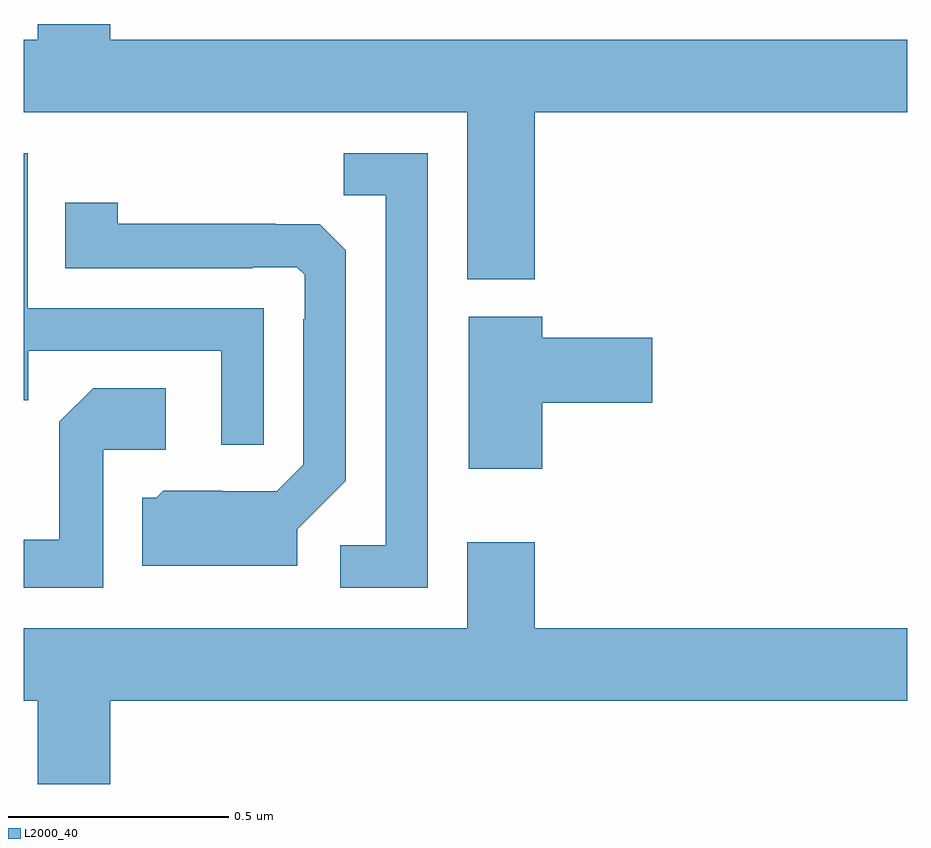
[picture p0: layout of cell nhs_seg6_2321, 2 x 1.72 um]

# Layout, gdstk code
import gdstk
lib = gdstk.Library(unit=1e-6, precision=1e-09)
def P(c, l, *ps):  # polygons
    for p in ps: c.add(gdstk.Polygon(p, *l))
L2000_40 = (2000, 40)

nhs_seg6_2321 = lib.new_cell('nhs_seg6_2321')
P(nhs_seg6_2321, L2000_40, [(142.157,983.3),(143,983.3),(143,983.464),(141.196,983.464),(141.196,983.5),(141.032,983.5),(141.032,983.464),(141,983.464),(141,983.3),(142.004,983.3),(142.004,982.922),(142.157,982.922)],
  [(141.915,983.208),(141.724,983.208),(141.724,983.113),(141.819,983.113),(141.819,982.32),(141.717,982.32),(141.717,982.224),(141.915,982.224)],
  [(141.543,982.857),(141.009,982.857),(141.009,983.208),(141,983.208),(141,982.648),(141.011,982.648),(141.011,982.761),(141.447,982.761),(141.447,982.548),(141.543,982.548)],
  [(141.619,982.356),(141.729,982.466),(141.729,982.988),(141.67,983.047),(141.569,983.047),(141.569,983.048),(141.213,983.048),(141.213,983.095),(141.094,983.095),(141.094,982.947),(141.518,982.947),(141.518,982.95),(141.618,982.95),(141.636,982.932),(141.636,982.832),(141.633,982.832),(141.633,982.503),(141.573,982.443),(141.45,982.443),(141.45,982.444),(141.316,982.444),(141.3,982.428),(141.269,982.428),(141.269,982.274),(141.619,982.274)],
  [(142.174,982.643),(142.423,982.643),(142.423,982.79),(142.174,982.79),(142.174,982.837),(142.007,982.837),(142.007,982.494),(142.174,982.494)],
  [(141.18,982.536),(141.322,982.536),(141.322,982.676),(141.157,982.676),(141.081,982.6),(141.081,982.333),(141,982.333),(141,982.224),(141.18,982.224)],
  [(141.196,981.968),(143,981.968),(143,982.132),(142.157,982.132),(142.157,982.327),(142.004,982.327),(142.004,982.132),(141,982.132),(141,981.968),(141.032,981.968),(141.032,981.78),(141.196,981.78)])

lib.write_gds('nhs_seg6_2321.gds')
